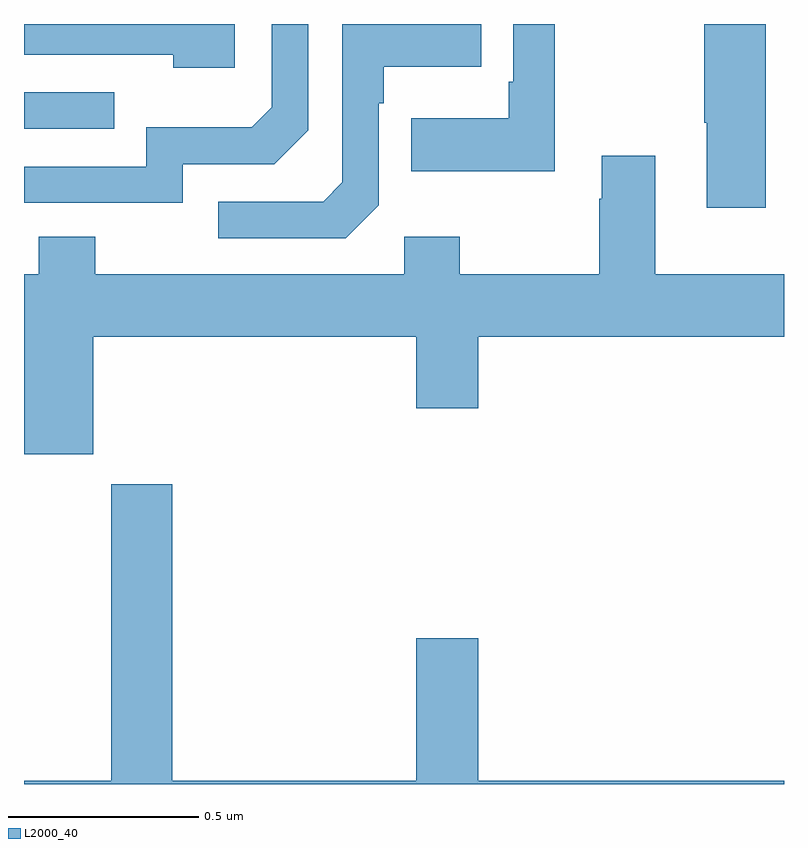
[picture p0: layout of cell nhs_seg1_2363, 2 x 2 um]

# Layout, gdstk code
import gdstk
lib = gdstk.Library(unit=1e-6, precision=1e-09)
def R(c, l, rs):  # rectangles x0, y0, x1, y1
    for r in rs: c.add(gdstk.rectangle(r[:2], r[2:], *l))
def P(c, l, *ps):  # polygons
    for p in ps: c.add(gdstk.Polygon(p, *l))
L2000_40 = (2000, 40)

nhs_seg1_2363 = lib.new_cell('nhs_seg1_2363')
R(nhs_seg1_2363, L2000_40, [(140,574.923,140.237,575.019)])
P(nhs_seg1_2363, L2000_40, [(141.397,575.199),(141.288,575.199),(141.288,575.047),(141.276,575.047),(141.276,574.951),(141.019,574.951),(141.019,574.811),(141.397,574.811)],
  [(141.952,575.199),(141.79,575.199),(141.79,574.939),(141.797,574.939),(141.797,574.716),(141.952,574.716)],
  [(140.934,574.722),(140.934,574.991),(140.947,574.991),(140.947,575.087),(141.203,575.087),(141.203,575.199),(140.838,575.199),(140.838,574.782),(140.787,574.731),(140.511,574.731),(140.511,574.635),(140.847,574.635)],
  [(140.418,574.83),(140.658,574.83),(140.748,574.92),(140.748,575.199),(140.652,575.199),(140.652,574.98),(140.599,574.927),(140.322,574.927),(140.322,574.824),(140,574.824),(140,574.728),(140.418,574.728)],
  [(140.554,575.199),(140,575.199),(140,575.118),(140.393,575.118),(140.393,575.084),(140.554,575.084)],
  [(140.182,574.376),(141.032,574.376),(141.032,574.188),(141.196,574.188),(141.196,574.376),(142,574.376),(142,574.54),(141.661,574.54),(141.661,574.852),(141.521,574.852),(141.521,574.739),(141.514,574.739),(141.514,574.54),(141.147,574.54),(141.147,574.639),(141,574.639),(141,574.54),(140.187,574.54),(140.187,574.639),(140.039,574.639),(140.039,574.54),(140,574.54),(140,574.067),(140.182,574.067)],
  [(142,573.208),(141.196,573.208),(141.196,573.583),(141.032,573.583),(141.032,573.208),(140.39,573.208),(140.39,573.988),(140.23,573.988),(140.23,573.208),(140,573.208),(140,573.199),(142,573.199)])

lib.write_gds('nhs_seg1_2363.gds')
